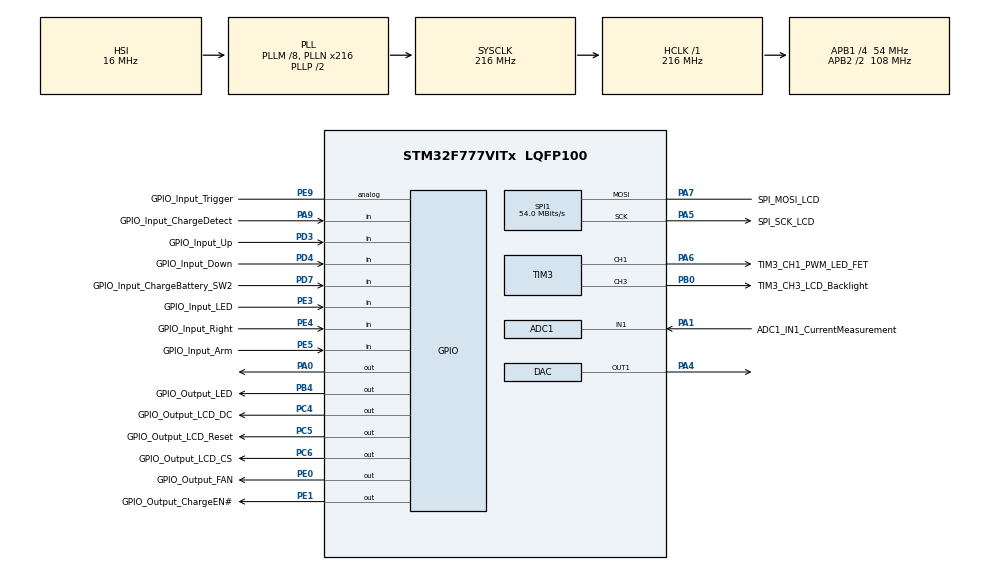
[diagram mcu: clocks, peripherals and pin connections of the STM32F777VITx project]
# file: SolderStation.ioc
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ADC1.Channel-0\#ChannelRegularConversion=ADC_CHANNEL_1
ADC1.NbrOfConversionFlag=1
ADC1.Rank-0\#ChannelRegularConversion=1
ADC1.SamplingTime-0\#ChannelRegularConversion=ADC_SAMPLETIME_144CYCLES
ADC1.master=1
DAC.DAC_Trigger=DAC_TRIGGER_SOFTWARE
Mcu.Family=STM32F7
Mcu.Name=STM32F777VITx
Mcu.Package=LQFP100
NVIC.ADC_IRQn=true\:0\:0\:false\:false\:true\:true\:true\:true
NVIC.PriorityGroup=NVIC_PRIORITYGROUP_4
PA0/WKUP.GPIO_PuPd=GPIO_PULLUP
PA0/WKUP.Signal=GPIO_Output
PA1.GPIO_Label=ADC1_IN1_CurrentMeasurement
PA1.Signal=ADCx_IN1
PA13.Mode=Serial_Wire
PA13.Signal=SYS_JTMS-SWDIO
PA14.Mode=Serial_Wire
PA14.Signal=SYS_JTCK-SWCLK
PA4.Signal=COMP_DAC1_group
PA5.GPIO_Label=SPI_SCK_LCD
PA5.Mode=Simplex_Bidirectional_Master
PA5.Signal=SPI1_SCK
PA6.GPIO_Label=TIM3_CH1_PWM_LED_FET
PA6.Signal=S_TIM3_CH1
PA7.GPIO_Label=SPI_MOSI_LCD
PA7.Mode=Simplex_Bidirectional_Master
PA7.Signal=SPI1_MOSI
PA9.GPIO_Label=GPIO_Input_ChargeDetect
PA9.Signal=GPIO_Input
PB0.GPIO_Label=TIM3_CH3_LCD_Backlight
PB0.Signal=S_TIM3_CH3
PB4.GPIO_Label=GPIO_Output_LED
PB4.Signal=GPIO_Output
PC13.Mode=SYS_WakeUp3
PC13.Signal=SYS_WKUP4
PC4.GPIO_Label=GPIO_Output_LCD_DC
PC4.Signal=GPIO_Output
PC5.GPIO_Label=GPIO_Output_LCD_Reset
PC5.Signal=GPIO_Output
PC6.GPIO_Label=GPIO_Output_LCD_CS
PC6.Signal=GPIO_Output
PD3.GPIO_Label=GPIO_Input_Up
PD3.Signal=GPIO_Input
PD4.GPIO_Label=GPIO_Input_Down
PD4.Signal=GPIO_Input
PD7.GPIO_Label=GPIO_Input_ChargeBattery_SW2
PD7.GPIO_PuPd=GPIO_PULLUP
PD7.Signal=GPIO_Input
PE0.GPIO_Label=GPIO_Output_FAN
PE0.Signal=GPIO_Output
PE1.GPIO_Label=GPIO_Output_ChargeEN\#
PE1.PinState=GPIO_PIN_SET
PE1.Signal=GPIO_Output
PE3.GPIO_Label=GPIO_Input_LED
PE3.GPIO_PuPd=GPIO_PULLUP
PE3.Signal=GPIO_Input
PE4.GPIO_Label=GPIO_Input_Right
PE4.GPIO_PuPd=GPIO_PULLUP
PE4.Signal=GPIO_Input
PE5.GPIO_Label=GPIO_Input_Arm
PE5.GPIO_PuPd=GPIO_PULLUP
PE5.Signal=GPIO_Input
PE9.GPIO_Label=GPIO_Input_Trigger
PE9.Signal=GPIO_Analog
PH0/OSC_IN.Mode=HSE-External-Oscillator
PH0/OSC_IN.Signal=RCC_OSC_IN
PH1/OSC_OUT.Mode=HSE-External-Oscillator
PH1/OSC_OUT.Signal=RCC_OSC_OUT
ProjectManager.HeapSize=0x200
ProjectManager.StackSize=0x400
ProjectManager.TargetToolchain=STM32CubeIDE
RCC.AHBFreq_Value=216000000
RCC.APB1CLKDivider=RCC_HCLK_DIV4
RCC.APB1Freq_Value=54000000
RCC.APB1TimFreq_Value=108000000
RCC.APB2CLKDivider=RCC_HCLK_DIV2
RCC.APB2Freq_Value=108000000
RCC.APB2TimFreq_Value=216000000
RCC.CortexFreq_Value=216000000
RCC.HCLKFreq_Value=216000000
RCC.HSE_VALUE=25000000
RCC.HSI_VALUE=16000000
RCC.LSE_VALUE=32768
RCC.PLLM=8
RCC.PLLN=216
RCC.SYSCLKFreq_VALUE=216000000
RCC.SYSCLKSource=RCC_SYSCLKSOURCE_PLLCLK
RCC.USBFreq_Value=216000000
RCC.VCOOutputFreq_Value=432000000
SH.ADCx_IN1.0=ADC1_IN1,IN1
SH.COMP_DAC1_group.0=DAC_OUT1,DAC_OUT1
SH.S_TIM3_CH1.0=TIM3_CH1,PWM Generation1 CH1
SH.S_TIM3_CH3.0=TIM3_CH3,PWM Generation3 CH3
SPI1.CalculateBaudRate=54.0 MBits/s
SPI1.DataSize=SPI_DATASIZE_8BIT
SPI1.Direction=SPI_DIRECTION_1LINE
SPI1.Mode=SPI_MODE_MASTER
SPI1.VirtualType=VM_MASTER
TIM3.Channel-PWM\ Generation1\ CH1=TIM_CHANNEL_1
TIM3.Channel-PWM\ Generation3\ CH3=TIM_CHANNEL_3
board=custom

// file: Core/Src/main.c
/* USER CODE BEGIN Header */
/**
  ******************************************************************************
  * @file           : main.c
  * @brief          : Main program body
  ******************************************************************************
  * @attention
  *
  * Copyright (c) 2024 STMicroelectronics.
  * All rights reserved.
  *
  * This software is licensed under terms that can be found in the LICENSE file
  * in the root directory of this software component.
  * If no LICENSE file comes with this software, it is provided AS-IS.
  *
  ******************************************************************************
  */
/* USER CODE END Header */
#include "main.h"
#include "adc.h"
#include "dac.h"
#include "spi.h"
#include "tim.h"
#include "gpio.h"

/* USER CODE BEGIN Includes */
#include "GUI_Paint.h"
/* USER CODE END Includes */

/* USER CODE BEGIN PV */
float versionID = 1.000;
float buildID = 1.030;

tCURSOR_DATA currentCursorPosition;

tSwitchState LEDSwitchState = SwitchOff;
tSwitchState FANSwitchState = SwitchOff;
tSwitchState BatteryChargerSwitchState = SwitchOff;

uint32_t tenHzCycle = 0;

uint8_t ampReadingArray[100] = {0};

uint16_t milliAmpsForDisplay = 0;

bool isBatteryCharging = false;
/* USER CODE END PV */

void SystemClock_Config(void);

int main(void)
{

  /* MCU Configuration--------------------------------------------------------*/

  /* Reset of all peripherals, Initializes the Flash interface and the Systick. */
  HAL_Init();

  /* Configure the system clock */
  SystemClock_Config();

  /* Initialize all configured peripherals */
  MX_GPIO_Init();
  MX_DAC_Init();
  MX_ADC1_Init();
  MX_SPI1_Init();
  MX_TIM3_Init();
  /* USER CODE BEGIN 2 */
  TIM3->CCR3 = 20000;
  screenInit();
  screenClear();
  renderCompleteFrame = true;

  memset(ampReadingArray, 160, sizeof(ampReadingArray));

  HAL_ADC_Start_IT(&hadc1);
  /* USER CODE END 2 */

  /* Infinite loop */
  /* USER CODE BEGIN WHILE */
  while (1)
  {
	  checkButtons();

	  /*Read Current
	   * Read Li-Ion charge state*/
	  if (HAL_GetTick() - tenHzCycle >= 100)
	  {
		  HAL_ADC_Start_IT(&hadc1);

		  if (HAL_GPIO_ReadPin(GPIOA, GPIO_PIN_9) == GPIO_PIN_RESET)
		  {
			  isBatteryCharging = true;
		  }
		  else
		  {
			  isBatteryCharging = false;
		  }
		  tenHzCycle = HAL_GetTick();
	  }
    /* USER CODE END WHILE */

    /* USER CODE BEGIN 3 */
	  screenUpdate(false);
	  displayNextFrame();
  }
  /* USER CODE END 3 */
}

void SystemClock_Config(void)
{
  RCC_OscInitTypeDef RCC_OscInitStruct = {0};
  RCC_ClkInitTypeDef RCC_ClkInitStruct = {0};

  /** Configure the main internal regulator output voltage
  */
  __HAL_RCC_PWR_CLK_ENABLE();
  __HAL_PWR_VOLTAGESCALING_CONFIG(PWR_REGULATOR_VOLTAGE_SCALE1);

  /** Initializes the RCC Oscillators according to the specified parameters
  * in the RCC_OscInitTypeDef structure.
  */
  RCC_OscInitStruct.OscillatorType = RCC_OSCILLATORTYPE_HSI;
  RCC_OscInitStruct.HSIState = RCC_HSI_ON;
  RCC_OscInitStruct.HSICalibrationValue = RCC_HSICALIBRATION_DEFAULT;
  RCC_OscInitStruct.PLL.PLLState = RCC_PLL_ON;
  RCC_OscInitStruct.PLL.PLLSource = RCC_PLLSOURCE_HSI;
  RCC_OscInitStruct.PLL.PLLM = 8;
  RCC_OscInitStruct.PLL.PLLN = 216;
  RCC_OscInitStruct.PLL.PLLP = RCC_PLLP_DIV2;
  RCC_OscInitStruct.PLL.PLLQ = 2;
  RCC_OscInitStruct.PLL.PLLR = 2;
  if (HAL_RCC_OscConfig(&RCC_OscInitStruct) != HAL_OK)
  {
    Error_Handler();
  }

  /** Activate the Over-Drive mode
  */
  if (HAL_PWREx_EnableOverDrive() != HAL_OK)
  {
    Error_Handler();
  }

  /** Initializes the CPU, AHB and APB buses clocks
  */
  RCC_ClkInitStruct.ClockType = RCC_CLOCKTYPE_HCLK|RCC_CLOCKTYPE_SYSCLK
                              |RCC_CLOCKTYPE_PCLK1|RCC_CLOCKTYPE_PCLK2;
  RCC_ClkInitStruct.SYSCLKSource = RCC_SYSCLKSOURCE_PLLCLK;
  RCC_ClkInitStruct.AHBCLKDivider = RCC_SYSCLK_DIV1;
  RCC_ClkInitStruct.APB1CLKDivider = RCC_HCLK_DIV4;
  RCC_ClkInitStruct.APB2CLKDivider = RCC_HCLK_DIV2;

  if (HAL_RCC_ClockConfig(&RCC_ClkInitStruct, FLASH_LATENCY_7) != HAL_OK)
  {
    Error_Handler();
  }
}

void Error_Handler(void)
{
  __disable_irq();
  while (1)
  {
  }
}
